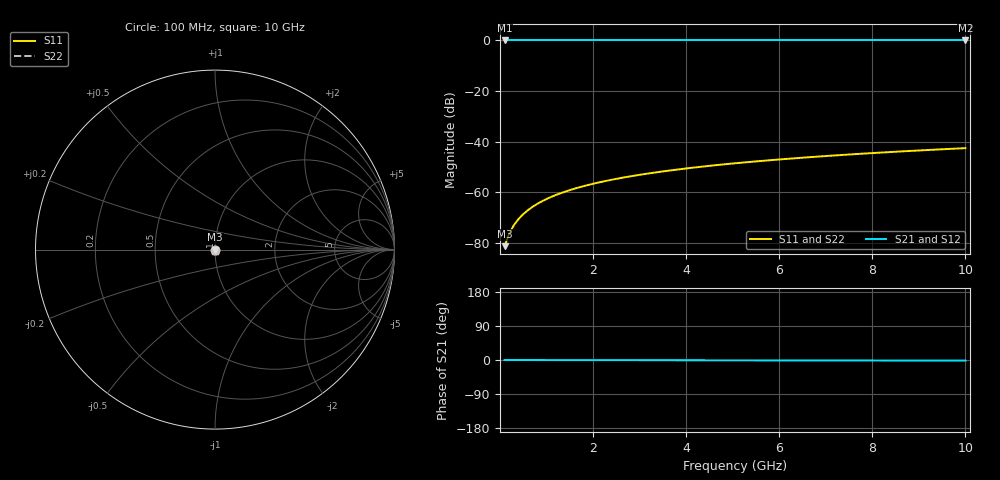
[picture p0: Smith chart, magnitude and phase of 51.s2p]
# Hz S RI R 50.00
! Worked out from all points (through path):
!   100 points, 100 MHz to 10 GHz, reference 50 ohm
!   highest |S21| = 0.00 dB at 100 MHz (marker M1); lowest = 0.0 dB at 10 GHz (marker M2)
!   lowest |S11| = -81.2 dB at 100 MHz (marker M3), VSWR 1.00, Z = 50 - j0.00738 ohm
!   |S11| at or under -10 dB: start of sweep to end of sweep
!   |S22| runs from -81.2 to -42.5 dB; largest |S21 - S12| = 0
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1e8  4.57e-05 -7.38e-05  1 -0.000283  1 -0.000283  4.57e-05 -7.38e-05
2e8  4.58e-05 -0.000148  1 -0.000566  1 -0.000566  4.58e-05 -0.000148
3e8  4.57e-05 -0.000221  1 -0.000849  1 -0.000849  4.57e-05 -0.000221
4e8  4.56e-05 -0.000295  1 -0.00113  1 -0.00113  4.56e-05 -0.000295
5e8  4.54e-05 -0.000369  1 -0.00141  1 -0.00141  4.54e-05 -0.000369
6e8  4.51e-05 -0.000443  0.9999 -0.0017  0.9999 -0.0017  4.51e-05 -0.000443
7e8  4.48e-05 -0.000517  0.9999 -0.00198  0.9999 -0.00198  4.48e-05 -0.000517
9e8  4.4e-05 -0.000665  0.9999 -0.00255  0.9999 -0.00255  4.4e-05 -0.000665
1e9  4.36e-05 -0.000739  0.9999 -0.00283  0.9999 -0.00283  4.36e-05 -0.000739
1.2e9  4.25e-05 -0.000886  0.9999 -0.0034  0.9999 -0.0034  4.25e-05 -0.000886
1.5e9  4.06e-05 -0.00111  0.9999 -0.00425  0.9999 -0.00425  4.06e-05 -0.00111
1.8e9  3.82e-05 -0.00133  0.9999 -0.0051  0.9999 -0.0051  3.82e-05 -0.00133
2.1e9  3.55e-05 -0.00155  0.9999 -0.00595  0.9999 -0.00595  3.55e-05 -0.00155
2.5e9  3.12e-05 -0.00185  0.9999 -0.00708  0.9999 -0.00708  3.12e-05 -0.00185
2.9e9  2.63e-05 -0.00215  0.9999 -0.00822  0.9999 -0.00822  2.63e-05 -0.00215
3.4e9  1.91e-05 -0.00252  0.9999 -0.00964  0.9999 -0.00964  1.91e-05 -0.00252
4.2e9  5.36e-06 -0.00312  0.9999 -0.0119  0.9999 -0.0119  5.36e-06 -0.00312
5.1e9  -1.34e-05 -0.00379  0.9998 -0.0145  0.9998 -0.0145  -1.34e-05 -0.00379
5.9e9  -3.31e-05 -0.00439  0.9998 -0.0168  0.9998 -0.0168  -3.31e-05 -0.00439
6.7e9  -5.55e-05 -0.00499  0.9997 -0.0191  0.9997 -0.0191  -5.55e-05 -0.00499
8.4e9  -0.000113 -0.00627  0.9996 -0.024  0.9996 -0.024  -0.000113 -0.00627
1e10  -0.000178 -0.00748  0.9995 -0.0286  0.9995 -0.0286  -0.000178 -0.00748
